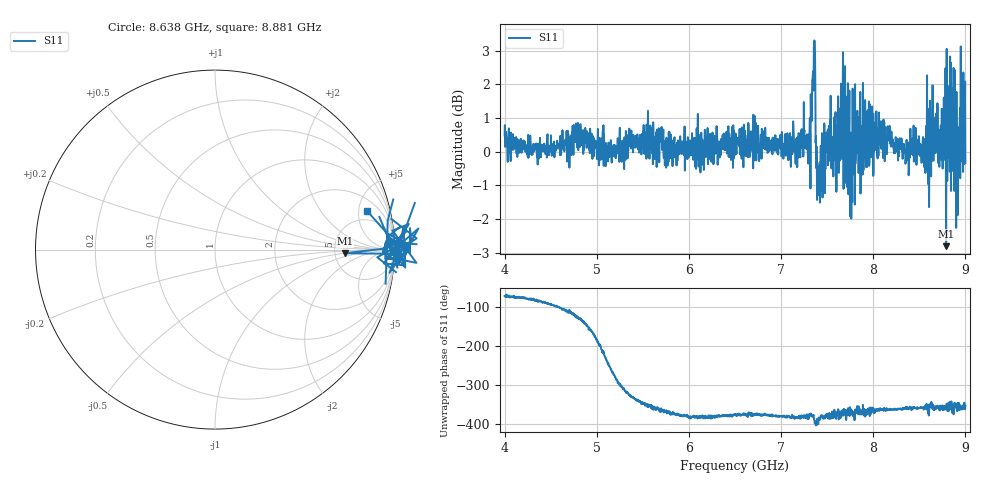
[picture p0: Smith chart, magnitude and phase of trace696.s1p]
! Created with skrf 1.8.0 (http://scikit-rf.org).
# Hz S RI R 50.0
!freq ReS11 ImS11
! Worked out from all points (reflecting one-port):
!   1601 points, 4 GHz to 9 GHz, reference 50 ohm
!   lowest |S11| = -2.8 dB at 8.791 GHz (marker M1), VSWR 6.25, Z = 310 - j26.7 ohm
!   phase of S11 starts at -73 deg and turns -280 deg over the sweep
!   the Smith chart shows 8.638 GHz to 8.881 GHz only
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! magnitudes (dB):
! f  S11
! 4 GHz  0.5
! 4.625 GHz  0.2
! 4.753 GHz  0.4
! 5.1 GHz  0.3
! 5.25 GHz  0.7
! 5.566 GHz  0.3
! 5.875 GHz  -0.3
! 6.5 GHz  0.2
! 7.125 GHz  0.3
! 7.294 GHz  -0.4
! 7.347 GHz  2.4
! 7.369 GHz  2.8
! 7.397 GHz  -1.0
! 7.409 GHz  -0.8
! 7.512 GHz  0.7
! 7.619 GHz  1.6
! 7.669 GHz  1.9
! 7.728 GHz  -0.1
! 7.75 GHz  -1.9
! 7.775 GHz  1.9
! 7.834 GHz  0.6
! 7.928 GHz  1.0
! 8.375 GHz  -0.1
! 8.791 GHz  -2.8
! 8.822 GHz  1.9
! 8.919 GHz  0.3
! 8.972 GHz  0.3
! 9 GHz  -0.3
